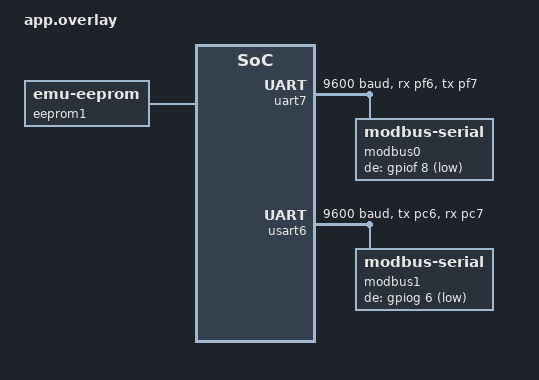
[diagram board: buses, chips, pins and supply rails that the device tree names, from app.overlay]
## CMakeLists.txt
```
# SPDX-License-Identifier: Apache-2.0

cmake_minimum_required(VERSION 3.20.0)
set(ZEPHYR_EXTRA_MODULES $ENV{ZEPHYR_BASE}../../modules/zpp)
find_package(Zephyr REQUIRED HINTS $ENV{ZEPHYR_BASE})
project(gui_guider)

FILE(GLOB app_sources src/*.cpp src/generated/*.c src/custom/*.c src/generated/guider_customer_fonts/*.c src/generated/guider_fonts/*.c src/generated/images/*.c)
target_include_directories(app PRIVATE inc src/generated src/custom src/generated/guider_customer_fonts src/generated/guider_fonts)
target_sources(app PRIVATE ${app_sources})
target_compile_definitions(app PRIVATE LV_LVGL_H_INCLUDE_SIMPLE)

target_sources_ifdef(CONFIG_FLASH_STM32_QSPI app PRIVATE boards/stm32f746g_disco/ext_mem_init.c)

# Run ext_code from the external flash (XIP). No need to copy.
zephyr_code_relocate(FILES src/generated/images/_slider_0_alpha_800x80.c LOCATION EXTFLASH_TEXT NOCOPY)

set(Ext_Data "void __attribute__((__weak__)) test(void){} const __attribute__((section(\".extflash_text_reloc\")))")
target_compile_definitions(app PRIVATE LV_ATTRIBUTE_MEM_ALIGN=${Ext_Data})
```

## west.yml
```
# Copyright (c) 2021 Nordic Semiconductor ASA
# SPDX-License-Identifier: Apache-2.0

manifest:
  remotes:    
    - name: zephyr_cergan
      url-base: https://github.com/coskunergan
    - name: zpp_remote
      url-base: https://github.com/lowlander      

  projects:
    - name: zephyr
      remote: zephyr_cergan
      clone-depth: 1
      revision: zephyr_cergan
      import:
        name-allowlist:
          - cmsis
          - hal_stm32
          - lvgl
    - name: zpp
      remote: zpp_remote
      revision: master
      path: modules/zpp          
```

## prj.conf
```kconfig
# CONFIG_LV_Z_MEM_POOL_NUMBER_BLOCKS=8
# CONFIG_MAIN_STACK_SIZE=2048

CONFIG_DISPLAY=y
# CONFIG_DISPLAY_LOG_LEVEL_ERR=y

CONFIG_LOG=y

CONFIG_LVGL=y
CONFIG_LV_MEM_CUSTOM=y
# CONFIG_LV_USE_LOG=y
CONFIG_LV_USE_LABEL=y
CONFIG_LV_USE_BTN=y
CONFIG_LV_USE_IMG=y
CONFIG_LV_FONT_MONTSERRAT_14=y
```

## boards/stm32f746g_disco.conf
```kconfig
CONFIG_MAIN_STACK_SIZE=4096

CONFIG_CODE_DATA_RELOCATION=y
CONFIG_HAVE_CUSTOM_LINKER_SCRIPT=y
CONFIG_CUSTOM_LINKER_SCRIPT="linker_arm_nocopy.ld"
CONFIG_BUILD_NO_GAP_FILL=y
CONFIG_COVERAGE=n
CONFIG_XIP=y

CONFIG_FLASH=y
CONFIG_FLASH_STM32_QSPI=y
CONFIG_ARM_MPU=n
#CONFIG_INPUT_FT5336_INTERRUPT=n
#CONFIG_INPUT_FT5336_PERIOD=100
#CONFIG_LV_USE_PERF_MONITOR=y
CONFIG_LV_PERF_MONITOR_ALIGN_TOP_RIGHT=y
#CONFIG_LV_USE_MEM_MONITOR=y

# CONFIG_LV_USE_MONKEY=y

CONFIG_LV_Z_MEM_POOL_SYS_HEAP=y
CONFIG_LV_Z_MEM_POOL_HEAP_LIB_C=y

CONFIG_LV_COLOR_DEPTH_16=y
CONFIG_DEBUG_OPTIMIZATIONS=n

# CONFIG_DMA=y
# CONFIG_LV_GPU_DMA2D_CMSIS_INCLUDE="stm32f7xx.h"
# CONFIG_LV_USE_GPU_STM32_DMA2D=y
#CONFIG_LV_DISP_DEF_REFR_PERIOD=60
#CONFIG_LV_INDEV_DEF_READ_PERIOD=100
#CONFIG_LV_THEME_DEFAULT_TRANSITION_TIME=80
#CONFIG_LV_Z_VBD_CUSTOM_SECTION=y

CONFIG_LOG=n
CONFIG_GPIO=y
CONFIG_UART_INTERRUPT_DRIVEN=y
CONFIG_UART_LINE_CTRL=n
CONFIG_MODBUS=y
CONFIG_MODBUS_ROLE_CLIENT_SERVER=y
CONFIG_CONSOLE=n
CONFIG_TEST=y
CONFIG_CPLUSPLUS=y
CONFIG_LIB_CPLUSPLUS=y
CONFIG_STD_CPP20=y
CONFIG_NEWLIB_LIBC=y
CONFIG_NEWLIB_LIBC_NANO=y
CONFIG_NEWLIB_LIBC_FLOAT_PRINTF=n
CONFIG_CBPRINTF_FP_SUPPORT=n
# CONFIG_SPEED_OPTIMIZATIONS=y
CONFIG_HEAP_MEM_POOL_SIZE=32768


CONFIG_EEPROM=y
CONFIG_EEPROM_EMULATOR=y
```

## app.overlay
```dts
/ {
	eeprom1: eeprom1 {
		status = "okay";
		compatible = "zephyr,emu-eeprom";
		size = <DT_SIZE_K(4)>;
		pagesize = <DT_SIZE_K(8)>;
		partition = <&eepromemu_partition>;
		rambuf;
	};

	aliases {		
		eeprom-1 = &eeprom1;
	};				
};

&flash0 {

	partitions {
		compatible = "fixed-partitions";
		#address-cells = <1>;
		#size-cells = <1>;

		eepromemu_partition: partition@F8000 {
			label = "eeprom-emu";
			reg = <0xF8000 DT_SIZE_K(32)>;
		};		
	};
};

&uart7 {
	pinctrl-0 = <&uart7_rx_pf6 &uart7_tx_pf7>;
	pinctrl-names = "default";
	current-speed = <9600>;
	status = "okay";
	
	modbus0 {
		compatible = "zephyr,modbus-serial";
		status = "okay";
		de-gpios = <&gpiof 8 GPIO_ACTIVE_LOW>;	
	};	
};

&usart6 {
	pinctrl-0 = <&usart6_tx_pc6 &usart6_rx_pc7>;
	pinctrl-names = "default";
	current-speed = <9600>;
	status = "okay";
	
	modbus1 {
		compatible = "zephyr,modbus-serial";
		status = "okay";
		de-gpios = <&gpiog 6 GPIO_ACTIVE_LOW>;	
	};	
};
```

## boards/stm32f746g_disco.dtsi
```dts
&flash0 {

	partitions {
		compatible = "fixed-partitions";
		#address-cells = <1>;
		#size-cells = <1>;

		eepromemu_partition: partition@F8000 {
			label = "eeprom-emu";
			reg = <0xF8000 DT_SIZE_K(32)>;
		};		
	};
};
```

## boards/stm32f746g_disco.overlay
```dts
#include "stm32f746g_disco.dtsi"

/ {

	eeprom1: eeprom1 {
		status = "okay";
		compatible = "zephyr,emu-eeprom";
		size = <DT_SIZE_K(4)>;
		pagesize = <DT_SIZE_K(8)>;
		partition = <&eepromemu_partition>;
		rambuf;
	};

	aliases {		
		eeprom-1 = &eeprom1;
	};				
};
```

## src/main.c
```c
/*
 * Copyright (c) 2018 Jan Van Winkel <jan.van_winkel@dxplore.eu>
 *
 * SPDX-License-Identifier: Apache-2.0
 */

#include <zephyr/device.h>
#include <zephyr/drivers/display.h>
#include <lvgl.h>
#include <stdio.h>
#include <string.h>
#include <zephyr/zephyr.h>

#include "../generated/gui_guider.h"
#include "../generated/events_init.h"

#define LOG_LEVEL CONFIG_LOG_DEFAULT_LEVEL
#include <zephyr/logging/log.h>
LOG_MODULE_REGISTER(app);

// önemli not; proje derlenmiyor ise .west klasöründeki proje ismine bu projenin adını yaz.

lv_ui guider_ui;

void main(void)
{
	const struct device *display_dev;

	display_dev = DEVICE_DT_GET(DT_CHOSEN(zephyr_display));
	if (!device_is_ready(display_dev)) {
		LOG_ERR("Device not ready, aborting test");
		return;
	}

	setup_ui(&guider_ui);
   	events_init(&guider_ui);

	lv_task_handler();
	display_blanking_off(display_dev);

	while (1) {
		k_msleep(lv_task_handler());
	}
}
```

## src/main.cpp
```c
/*
 * Copyright (c) 2018 Jan Van Winkel <jan.van_winkel@dxplore.eu>
 *
 * SPDX-License-Identifier: Apache-2.0
 */

#include <zephyr/device.h>
#include <zephyr/drivers/display.h>
#include <lvgl.h>
#include <stdio.h>
#include <string.h>
#include <zephyr/zephyr.h>

#include "../generated/gui_guider.h"
#include "../generated/events_init.h"

#include "modbus_tft.h"

// #define LOG_LEVEL CONFIG_LOG_DEFAULT_LEVEL
// #include <zephyr/logging/log.h>
// LOG_MODULE_REGISTER(app);

lv_ui guider_ui;

int main(void)
{
	const struct device *display_dev;

	display_dev = DEVICE_DT_GET(DT_CHOSEN(zephyr_display));
	if (!device_is_ready(display_dev)) {
		LOG_ERR("Device not ready, aborting test");
		return 0;
	}

	setup_ui(&guider_ui);
   	events_init(&guider_ui);

	lv_task_handler();
	display_blanking_off(display_dev);	

	while (1) {					
		k_msleep(lv_task_handler());				
	}
}
```

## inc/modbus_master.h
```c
/*
    Mosbus Master Lib

    Created on: Dec 28, 2023

    Author: Coskun ERGAN
*/

#pragma once
#include <stdio.h>
#include <zephyr/devicetree.h>
#include <zephyr/kernel.h>
#include <zephyr/modbus/modbus.h>

#include <zpp.hpp>

namespace device_modbus_master
{
    using namespace zpp;
    static condition_variable modbus_read_cv;
    static condition_variable modbus_write_cv;
    class modbus_master
    {
    public:
        modbus_master(const char *dev, const modbus_iface_param param)
        {
            client_iface_master = modbus_iface_get_by_name(dev);
            if(modbus_init_client(client_iface_master, param))
            {
                LOG_ERR("Modbus Master RTU client initialization failed");
            }
        }

        ~modbus_master() = default;
        modbus_master(modbus_master &&) = delete;
        modbus_master &operator=(modbus_master &&) = delete;
        modbus_master(const modbus_master &) = delete;
        modbus_master &operator=(const modbus_master &) = delete;

        int read_input_reg(uint16_t node, uint16_t adr, uint16_t *buff, uint16_t size)
        {
            int ret = modbus_read_input_regs(client_iface_master, node, adr, buff, size);
            if(ret != 0)
            {
                LOG_ERR("Read failed input with %d", ret);
            }
            else
            {
                (void)modbus_read_cv.notify_all();
            }
            return ret;
        }

        int read_holding_reg(uint16_t node, uint16_t adr, uint16_t *buff, uint16_t size)
        {
            int ret = modbus_read_holding_regs(client_iface_master, node, adr, buff, size);
            if(ret != 0)
            {
                LOG_ERR("Read failed holding with %d", ret);
            }
            else
            {
                (void)modbus_read_cv.notify_all();
            }
            return ret;
        }
        int write_holding_reg(uint16_t node, uint16_t adr, uint16_t *buff, uint16_t size)
        {
            int ret = modbus_write_holding_regs(client_iface_master, node, adr, buff, size);
            // if(ret != 0)
            // {
            //     LOG_ERR("Write failed with %d", ret);
            // }
            // else
            // {
            //     (void)modbus_write_cv.notify_all();
            // }
            return ret;
        }
        condition_variable &mb_read_cv()
        {
            return modbus_read_cv;
        }
        condition_variable &mb_write_cv()
        {
            return modbus_write_cv;
        }
    private:
        int client_iface_master;
    };
}
```

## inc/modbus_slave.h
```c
/*
    Mosbus Slave Lib

    Created on: Jan 18, 2024

    Author: Coskun ERGAN
*/

#pragma once
#include <stdio.h>
#include <zephyr/devicetree.h>
#include <zephyr/kernel.h>
#include <zephyr/modbus/modbus.h>

#include <zpp.hpp>

#include <zephyr/logging/log.h>
LOG_MODULE_REGISTER(mbc_sample, LOG_LEVEL_INF);

namespace device_modbus_slave
{
    using namespace zpp;
    class modbus_slave
    {
    public:
        modbus_slave(const char *dev, const modbus_iface_param param)
        {
            client_iface = modbus_iface_get_by_name(dev);
            if(modbus_init_server(client_iface, param))
            {
                LOG_ERR("Modbus RTU server initialization failed");
            }
        }

        ~modbus_slave() = default;
        modbus_slave(modbus_slave &&) = delete;
        modbus_slave &operator=(modbus_slave &&) = delete;
        modbus_slave(const modbus_slave &) = delete;
        modbus_slave &operator=(const modbus_slave &) = delete;

    private:
        int client_iface;
    };
}
```

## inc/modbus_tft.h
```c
/*
    TFT Modbus Lib

    Created on: Jan 18, 2024

    Author: Coskun ERGAN
*/

#pragma once
#include <stdio.h>
#include <zephyr/devicetree.h>
#include <zephyr/kernel.h>
#include <zephyr/sys/util.h>
#include "modbus_slave.h"
#include "modbus_master.h"

#include <zpp.hpp>
#include <zpp/timer.hpp>
#include <chrono>

#include "pan_procces.h"
#include "lvgl.h"

extern tft_registers_t tft_regs;
extern "C" void wifi_active(void);
extern "C" void wifi_deactive(void);

namespace device_modbus_tft
{
    using namespace zpp;
    using namespace std::chrono;
    using namespace device_modbus_slave;
    using namespace device_modbus_master;
    ZPP_THREAD_STACK_DEFINE(tft_modbus_stack, 2048);
    const uint16_t tft_slave_id{1};
    const size_t tft_modbus_try_count{5};// ~5sn
    const milliseconds modbus_stream_check_delay{10s};
    bool tft_enb_state = false;

    static int holding_reg_rd(uint16_t addr, uint16_t *reg)
    {
        if(addr >= (sizeof(tft_regs) / 2))
        {
            return -ENOTSUP;
        }

        *reg = ((uint16_t *)&tft_regs)[addr];

        LOG_INF("Holding register read, addr %u", addr);

        return 0;
    }

    static int holding_reg_wr(uint16_t addr, uint16_t reg)
    {
        if(addr >= (sizeof(tft_regs) / 2))
        {
            return -ENOTSUP;
        }

        ((uint16_t *)&tft_regs)[addr] = reg;

        LOG_INF("Holding register write, addr %u", addr);

        return 0;
    }

    static struct modbus_user_callbacks mbs_cbs =
    {
        .coil_rd = nullptr,
        .coil_wr = nullptr,
        .holding_reg_rd = holding_reg_rd,
        .holding_reg_wr = holding_reg_wr,
    };
    const static struct modbus_iface_param client_param =
    {
        .mode = MODBUS_MODE_RTU,
        //.rx_timeout = 500000, // 500mSn
        .server = {
            .user_cb = &mbs_cbs,
            .unit_id = 1,
        },
        .serial = {
            .baud = 9600,
            .parity = UART_CFG_PARITY_NONE,
            .stop_bits_client = UART_CFG_STOP_BITS_1,
        },
    };

    const static struct modbus_iface_param client_param_master =
    {
        .mode = MODBUS_MODE_RTU,
        .rx_timeout = 300000, // 300mSn
        .serial = {
            .baud = 9600,
            .parity = UART_CFG_PARITY_NONE,
            .stop_bits_client = UART_CFG_STOP_BITS_1,
        },
    };

    class modbus_tft : public modbus_slave, modbus_master
    {
    public:
        modbus_tft() : modbus_slave("modbus0", client_param), modbus_master("modbus1", client_param_master)
        {
            static thread_data tcb;
            static thread t;
            const thread_attr attrs(
                thread_prio::preempt(10),
                thread_inherit_perms::no,
                thread_suspend::no
            );
            t = thread(tcb, tft_modbus_stack(), attrs, task_modbus_tft, this);
        }
        ~modbus_tft() = default;
        modbus_tft(modbus_tft &&) = delete;
        modbus_tft &operator=(modbus_tft &&) = delete;
        modbus_tft(const modbus_tft &) = delete;
        modbus_tft &operator=(const modbus_tft &) = delete;
        void clear_fail()
        {
            tft_regs.read_fail_count = 0;
            tft_regs.write_fail_count = 0;
            tft_regs.modbus_status.data_stream_fail = false;
        }
    private:
        static void task_modbus_tft(modbus_tft *mb) noexcept
        {
            bool logo_off_state = false;
            uint32_t modbus_rd_error = 4;
            uint32_t modbus_wr_error = 4;
            this_thread::sleep_for(100ms);
            while(1)
            {
                tft_regs.modbus_status.data_stream_fail = false;
                if(tft_regs.write_regs.master_param_bits.logo_off_state && logo_off_state == false)
                {
                    logo_off_state = true;
                    lv_obj_t *act_scr = lv_scr_act();
                    lv_event_send(act_scr, LV_EVENT_VALUE_CHANGED, NULL);
                }
                if(logo_off_state == true)
                {
                    if(mb->write_holding_reg(1, 10, (uint16_t *)&tft_regs.write_regs.master_param_bits, 16) != 0)
                    {
                        ++modbus_wr_error;
                    }
                    else
                    {
                        modbus_wr_error = 0;
                    }
                    if(mb->read_holding_reg(1, 45, (uint16_t *)&tft_regs.read_regs.panx_value[0], 5) != 0)
                    {
                        ++modbus_rd_error;
                    }
                    else
                    {
                        modbus_rd_error = 0;
                    }
                    if(modbus_rd_error == 8 || modbus_wr_error == 8)
                    {
                        wifi_deactive();
                    }
                    else if(modbus_rd_error <= 4 && modbus_wr_error <= 4)
                    {
                        wifi_active();
                    }
                }
                else
                {
                    this_thread::sleep_for(100ms);
                }
                tft_regs.read_regs.reserved[0] = modbus_wr_error;
                tft_regs.read_regs.reserved[1] = modbus_rd_error;
            }
        }
    };

    modbus_tft modbus;
}
```
